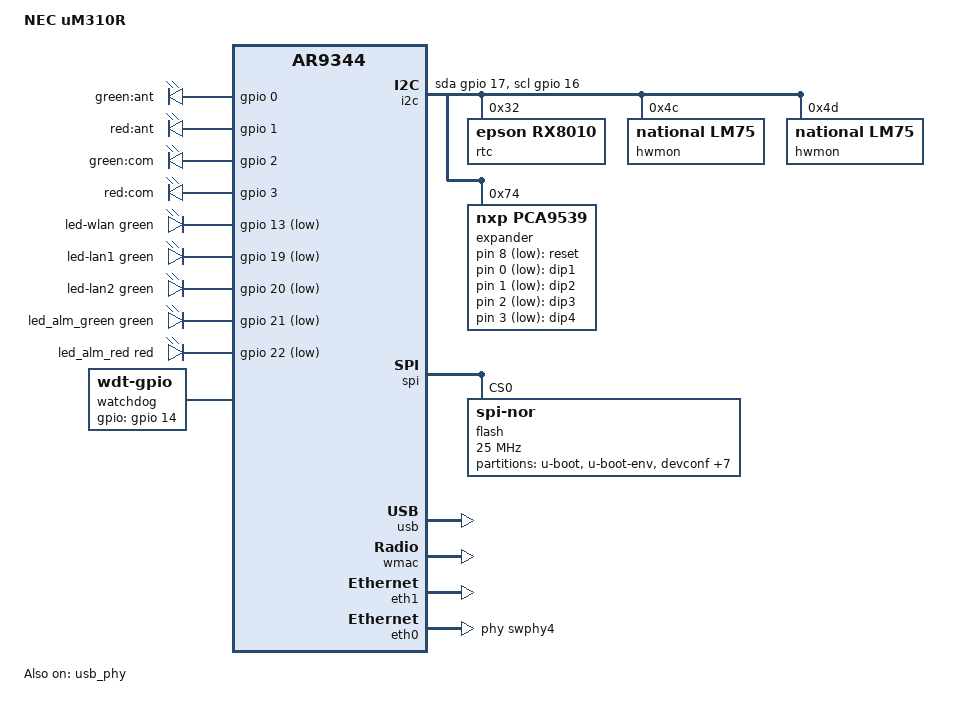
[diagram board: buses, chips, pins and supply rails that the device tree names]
// SPDX-License-Identifier: GPL-2.0-or-later OR MIT

#include <dt-bindings/gpio/gpio.h>
#include <dt-bindings/input/input.h>
#include <dt-bindings/leds/common.h>

#include "ar9344.dtsi"

/ {
	model = "NEC uM310R";
	compatible = "nec,um310r", "qca,ar9344";

	aliases {
		label-mac-device = &eth0;
		led-boot = &led_alm_green;
		led-failsafe = &led_alm_red;
		led-running = &led_alm_green;
		led-upgrade = &led_alm_red;
	};

	chosen {
		bootargs = "console=ttyS0,115200n8";
	};

	leds {
		compatible = "gpio-leds";
		pinctrl-names = "default";
		pinctrl-0 = <&jtag_disable_pins>;

		led-ant-green {
			label = "green:ant";
			gpios = <&gpio 0 GPIO_ACTIVE_HIGH>;
		};

		led-ant-red {
			label = "red:ant";
			gpios = <&gpio 1 GPIO_ACTIVE_HIGH>;
		};

		led-com-green {
			label = "green:com";
			gpios = <&gpio 2 GPIO_ACTIVE_HIGH>;
		};

		led-com-red {
			label = "red:com";
			gpios = <&gpio 3 GPIO_ACTIVE_HIGH>;
		};

		led-wlan {
			function = LED_FUNCTION_WLAN;
			color = <LED_COLOR_ID_GREEN>;
			gpios = <&gpio 13 GPIO_ACTIVE_LOW>;
			linux,default-trigger = "phy0tpt";
		};

		led-lan1 {
			function = LED_FUNCTION_LAN;
			function-enumerator = <1>;
			color = <LED_COLOR_ID_GREEN>;
			gpios = <&gpio 19 GPIO_ACTIVE_LOW>;
		};

		led-lan2 {
			function = LED_FUNCTION_LAN;
			function-enumerator = <2>;
			color = <LED_COLOR_ID_GREEN>;
			gpios = <&gpio 20 GPIO_ACTIVE_LOW>;
		};

		led_alm_green: led-alm-green {
			function = LED_FUNCTION_STATUS;
			color = <LED_COLOR_ID_GREEN>;
			gpios = <&gpio 21 GPIO_ACTIVE_LOW>;
		};

		led_alm_red: led-alm-red {
			function = LED_FUNCTION_ALARM;
			color = <LED_COLOR_ID_RED>;
			gpios = <&gpio 22 GPIO_ACTIVE_LOW>;
		};
	};

	/*
	 * External LMC555 watchdog: GPIO14 = feed (WDI), GPIO15 = enable
	 * (active low, left high/disabled by U-Boot). Like the stock
	 * firmware, it is enabled from userspace late in boot, before the
	 * LTE module is powered up.
	 */
	watchdog {
		compatible = "linux,wdt-gpio";
		gpios = <&gpio 14 GPIO_ACTIVE_HIGH>;
		hw_algo = "toggle";
		hw_margin_ms = <1600>;
		always-running;
	};

	keys {
		compatible = "gpio-keys-polled";
		poll-interval = <50>;

		button-reset {
			label = "reset";
			gpios = <&expander 8 GPIO_ACTIVE_LOW>;
			linux,code = <KEY_RESTART>;
			debounce-interval = <60>;
		};

		/* DIP switch SW2: ON = active */
		switch-dip1 {
			label = "dip1";
			gpios = <&expander 0 GPIO_ACTIVE_LOW>;
			linux,code = <BTN_0>;
			linux,input-type = <EV_SW>;
			debounce-interval = <60>;
		};

		switch-dip2 {
			label = "dip2";
			gpios = <&expander 1 GPIO_ACTIVE_LOW>;
			linux,code = <BTN_1>;
			linux,input-type = <EV_SW>;
			debounce-interval = <60>;
		};

		switch-dip3 {
			label = "dip3";
			gpios = <&expander 2 GPIO_ACTIVE_LOW>;
			linux,code = <BTN_2>;
			linux,input-type = <EV_SW>;
			debounce-interval = <60>;
		};

		switch-dip4 {
			label = "dip4";
			gpios = <&expander 3 GPIO_ACTIVE_LOW>;
			linux,code = <BTN_3>;
			linux,input-type = <EV_SW>;
			debounce-interval = <60>;
		};
	};

	i2c: i2c {
		compatible = "i2c-gpio";
		sda-gpios = <&gpio 17 (GPIO_ACTIVE_HIGH | GPIO_OPEN_DRAIN)>;
		scl-gpios = <&gpio 16 (GPIO_ACTIVE_HIGH | GPIO_OPEN_DRAIN)>;
		#address-cells = <1>;
		#size-cells = <0>;

		rtc@32 {
			compatible = "epson,rx8010";
			reg = <0x32>;
		};

		hwmon@4c {
			compatible = "national,lm75";
			reg = <0x4c>;
		};

		hwmon@4d {
			compatible = "national,lm75";
			reg = <0x4d>;
		};

		expander: gpio@74 {
			compatible = "nxp,pca9539";
			reg = <0x74>;
			gpio-controller;
			#gpio-cells = <2>;

			/* stock "gpioctl" pins 30-37 = 0-7, 40-47 = 8-15 */
			gpio-line-names = "dip-sw1", "dip-sw2", "dip-sw3", "dip-sw4",
					"lte-ready", "lte-power-off", "", "lte-reset",
					"reset-button", "", "", "lte-power-key",
					"board-reset", "", "", "";

			/* P34/P36 are module status outputs: never drive them */
			lte-reset {
				gpio-hog;
				gpios = <7 GPIO_ACTIVE_HIGH>;
				output-low;
				line-name = "lte-reset";
			};

			/* driving this line high resets the whole board */
			board-reset {
				gpio-hog;
				gpios = <12 GPIO_ACTIVE_HIGH>;
				output-low;
				line-name = "board-reset";
			};
		};
	};
};


&ref {
	clock-frequency = <25000000>;
};

&spi {
	status = "okay";

	flash@0 {
		compatible = "jedec,spi-nor";
		reg = <0>;
		spi-max-frequency = <25000000>;

		partitions {
			compatible = "fixed-partitions";
			#address-cells = <1>;
			#size-cells = <1>;

			partition@0 {
				label = "u-boot";
				reg = <0x000000 0x040000>;
				read-only;
			};

			partition@40000 {
				label = "u-boot-env";
				reg = <0x040000 0x010000>;

				nvmem-layout {
					compatible = "u-boot,env";
					env-size = <0x10000>;

					macaddr_uboot_ethaddr: ethaddr {
						#nvmem-cell-cells = <1>;
					};
				};
			};

			partition@50000 {
				label = "devconf";
				reg = <0x050000 0x010000>;
				read-only;
			};

			/*
			 * Stock uses two 0x750000 image slots at 0x60000 and
			 * 0x7c0000, selected by U-Boot env "activeregion".
			 * OpenWrt uses both slots (and the gap) as one
			 * partition and needs "activeregion=1".
			 */
			partition@60000 {
				compatible = "denx,uimage";
				label = "firmware";
				reg = <0x060000 0xeb0000>;
			};

			partition@f10000 {
				label = "ip-counter";
				reg = <0xf10000 0x010000>;
				read-only;
			};

			partition@f20000 {
				label = "art";
				reg = <0xf20000 0x010000>;
				read-only;

				nvmem-layout {
					compatible = "fixed-layout";
					#address-cells = <1>;
					#size-cells = <1>;

					cal_art_1000: calibration@1000 {
						reg = <0x1000 0x440>;
					};
				};
			};

			partition@f30000 {
				label = "devconf2";
				reg = <0xf30000 0x010000>;
				read-only;
			};

			partition@f40000 {
				label = "syslog";
				reg = <0xf40000 0x090000>;
				read-only;
			};

			partition@fd0000 {
				label = "lte-log";
				reg = <0xfd0000 0x010000>;
				read-only;
			};

			partition@fe0000 {
				label = "mgmt-config";
				reg = <0xfe0000 0x010000>;
				read-only;
			};
		};
	};
};

&usb {
	status = "okay";
};

&usb_phy {
	status = "okay";
};

&wmac {
	status = "okay";

	nvmem-cells = <&macaddr_uboot_ethaddr 1>, <&cal_art_1000>;
	nvmem-cell-names = "mac-address", "calibration";
};

&eth1 {
	status = "okay";

	nvmem-cells = <&macaddr_uboot_ethaddr 0>;
	nvmem-cell-names = "mac-address";

	gmac-config {
		device = <&gmac>;
		switch-phy-swap = <0>;
		switch-only-mode = <1>;
	};
};

&eth0 {
	status = "okay";

	phy-handle = <&swphy4>;

	nvmem-cells = <&macaddr_uboot_ethaddr 9>;
	nvmem-cell-names = "mac-address";
};

/* the external GPIO watchdog is used instead */
&wdt {
	status = "disabled";
};
